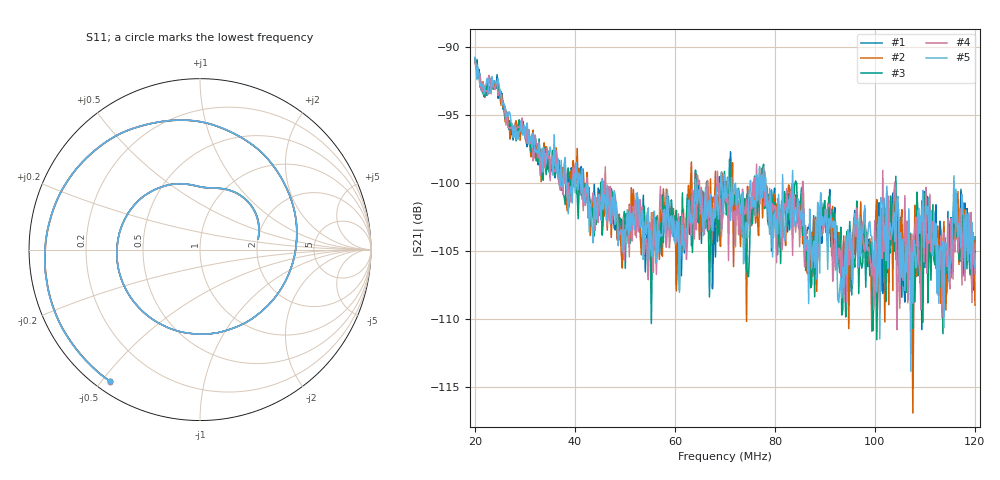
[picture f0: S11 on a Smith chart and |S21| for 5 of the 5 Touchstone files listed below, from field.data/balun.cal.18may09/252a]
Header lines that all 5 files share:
! Anritsu VNA Master:  Model: MS2036C/10/77
! SN:  1601066
! Existing Calibration Information:
! TYPE:  Current Settings,  Active Cal Settings
! # POINTS:  500,  500
! START FREQ:  20.000 MHz,  20.000 MHz
! STOP FREQ:  120.000 MHz,  120.000 MHz
! SOURCE POWER:  High,  High
! IFBW:  50 Hz,  50 Hz
! AVG FACTOR:  1 ,  1
! REF PLANE 1:  0 mm,  0 mm
! REF PLANE 2:  0 mm,  0 mm
! CAL TYPE:  Full S11,  Full S11
! CAL METHOD:  SOLT,  SOLT
! CAL LINE TYPE:  Coax,  Coax
! DUT PORT 1:  K-Conn(F),  K-Conn(F)
! DUT PORT 2:  K-Conn(F),  K-Conn(F)
! CAL STATUS:  OK: Accuracy High,  --
# GHZ S DB R 50.0
! FREQ.GHZ  S11DB  S11A  S21DB  S21A  S12DB  S12A  S22DB  S22A
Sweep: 20 MHz to 120 MHz
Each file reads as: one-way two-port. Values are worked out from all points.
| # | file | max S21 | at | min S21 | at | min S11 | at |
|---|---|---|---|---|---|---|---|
| 1 | a.2a.m1.s2p | -90.90 dB | 20 MHz | -112.5 dB | 107.6 MHz | -9.2 dB | 120 MHz |
| 2 | a.2a.m2.s2p | -90.98 dB | 20 MHz | -116.9 dB | 107.6 MHz | -9.2 dB | 120 MHz |
| 3 | a.2a.m3.s2p | -90.85 dB | 20 MHz | -111.5 dB | 100.4 MHz | -9.2 dB | 120 MHz |
| 4 | a.2a.m5.s2p | -91.00 dB | 20 MHz | -110.8 dB | 104.4 MHz | -9.2 dB | 120 MHz |
| 5 | a.2a.m10.s2p | -90.77 dB | 20 MHz | -113.8 dB | 107.2 MHz | -9.2 dB | 120 MHz |
